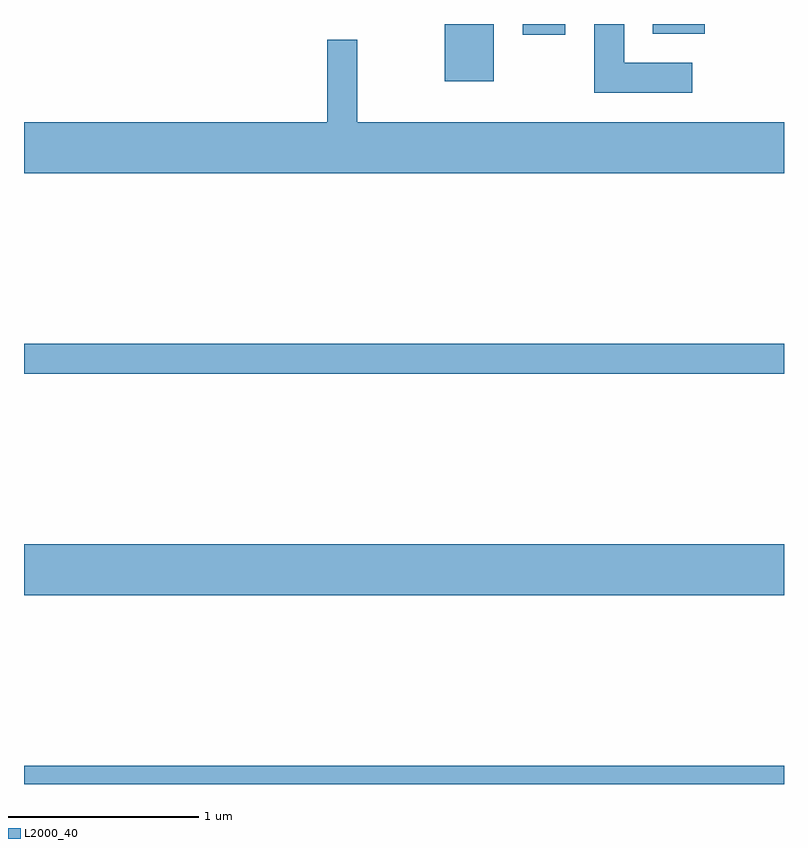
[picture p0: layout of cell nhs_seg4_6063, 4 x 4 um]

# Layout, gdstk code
import gdstk
lib = gdstk.Library(unit=1e-6, precision=1e-09)
def R(c, l, rs):  # rectangles x0, y0, x1, y1
    for r in rs: c.add(gdstk.rectangle(r[:2], r[2:], *l))
def P(c, l, *ps):  # polygons
    for p in ps: c.add(gdstk.Polygon(p, *l))
L2000_40 = (2000, 40)

nhs_seg4_6063 = lib.new_cell('nhs_seg4_6063')
R(nhs_seg4_6063, L2000_40, [(363.611,1275.982,367.611,1276.079), (363.611,1276.976,367.611,1277.244), (363.611,1278.141,367.611,1278.299), (365.826,1279.681,366.084,1279.982), (366.236,1279.926,366.459,1279.982), (366.921,1279.931,367.194,1279.982)])
P(nhs_seg4_6063, L2000_40, [(367.128,1279.779),(366.769,1279.779),(366.769,1279.982),(366.611,1279.982),(366.611,1279.621),(367.128,1279.621)],
  [(367.611,1279.464),(365.364,1279.464),(365.364,1279.898),(365.206,1279.898),(365.206,1279.464),(363.611,1279.464),(363.611,1279.196),(367.611,1279.196)])

lib.write_gds('nhs_seg4_6063.gds')
